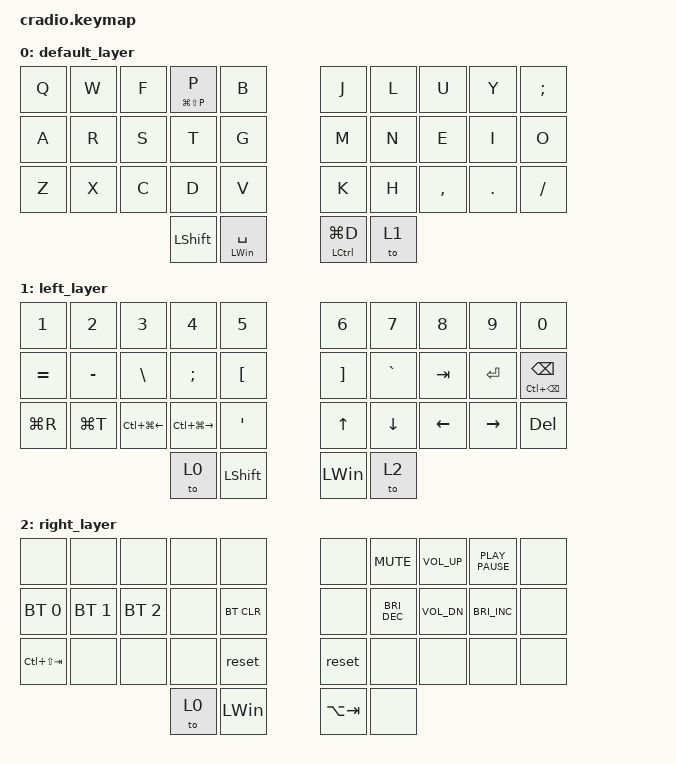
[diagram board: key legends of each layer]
/*
 * Copyright (c) 2020 The ZMK Contributors
 *
 * SPDX-License-Identifier: MIT
 */

#include <behaviors.dtsi>
#include <dt-bindings/zmk/keys.h>
#include <dt-bindings/zmk/bt.h>





&mt {
  flavor = "tap-preferred";
  tapping_term_ms = <200>;
};

/ { 

    combos {
        compatible = "zmk,combos";
        combo_esc {
            timeout-ms = <50>;
            key-positions = <26 25>;
	    layers = <0>;
            bindings = <&kp ESC>;
        };
        
         combo_tab {
            timeout-ms = <50>;
            key-positions = <8 9>;
	    layers = <0>;
            bindings = <&kp TAB>;
        };
        
            combo_l {
            timeout-ms = <50>;
            key-positions = <15 32>;
	    layers = <0>;
            bindings = <&mo 0>;
        };
        
    };

        keymap {
                compatible = "zmk,keymap";
                
       		default_layer {
		bindings = <
		&kp Q &kp W &kp F &mt LG(LS(P)) P &kp B 						&kp J &kp L  &kp U    &kp Y   &kp SEMICOLON 
		&kp A &kp R &kp S &kp T &kp G 			        	        &kp M &kp N &kp E &kp I &kp O
		&kp Z &kp X &kp C &kp D &kp V				        &kp K &kp H  &kp COMMA &kp DOT &kp FSLH
          				&kp LSHFT &mt LEFT_WIN SPACE 				&mt LCTRL LG(D) &to 1 
		>;
		};

       		left_layer {
		bindings = <
		&kp N1  &kp N2    &kp N3    &kp N4    &kp N5		&kp N6 &kp N7 &kp N8 &kp N9 &kp N0 
		&kp EQUAL    &kp MINUS    &kp BSLH      &kp SEMICOLON     &kp LBKT 		&kp RBKT &kp GRAVE  &kp TAB &kp ENTER  &mt LC(BSPC) BSPC  
		&kp LG(R)    &kp LG(T)	&kp LC(LG(LEFT)) &kp LC(LG(RIGHT))  &kp SQT 	&kp UP &kp DOWN &kp LEFT &kp RIGHT  &kp DEL 
					    &to 0  &kp LSHFT 					&kp LEFT_WIN &to 2 
		>;
		};
		
		right_layer {
		bindings = <
		&none  &none &none  &none  &none    			&none  &kp K_MUTE &kp K_VOL_UP &kp K_PLAY_PAUSE &none 
		&bt BT_SEL 0  &bt BT_SEL 1  &bt BT_SEL 2  &none  &bt BT_CLR			&none &kp C_BRIGHTNESS_DEC  &kp K_VOL_DN  &kp C_BRIGHTNESS_INC   &none
		&kp LC(LS(TAB)) &none &none &none  &reset    			&reset &none &none &none  &none
					  &to 0 &kp LEFT_WIN  				&kp LA(TAB)  &none 
		>;
		};	
			
        
	};
};
